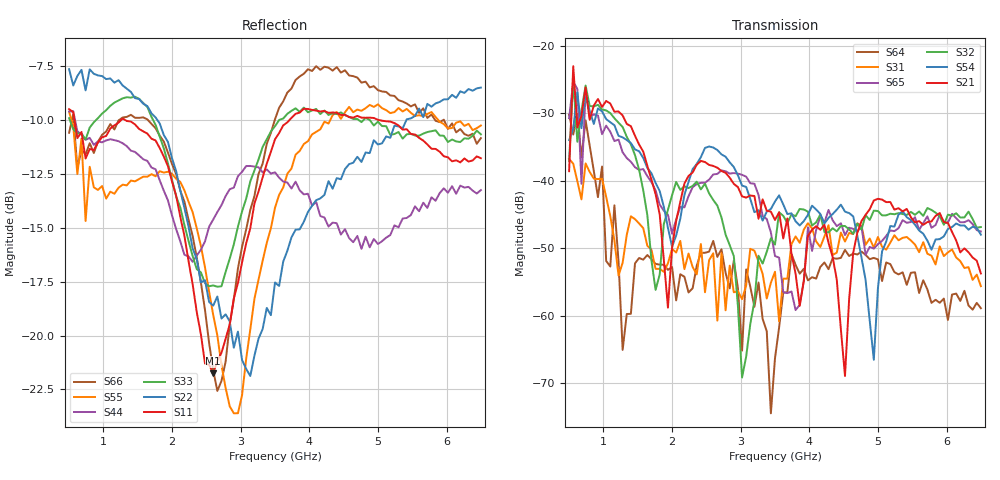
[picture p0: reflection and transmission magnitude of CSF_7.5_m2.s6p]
!Keysight Technologies,M9804A,MY58100912,A.14.10.03
!Date: Thursday, April 27, 2023 10:28:33
!Correction: S11(C  6-Port  )
!S12(C  6-Port  )
!S13(C  6-Port  )
!S14(C  6-Port  )
!S15(C  6-Port  )
!S16(C  6-Port  )
!S21(C  6-Port  )
!S22(C  6-Port  )
!S23(C  6-Port  )
!S24(C  6-Port  )
!S25(C  6-Port  )
!S26(C  6-Port  )
!S31(C  6-Port  )
!S32(C  6-Port  )
!S33(C  6-Port  )
!S34(C  6-Port  )
!S35(C  6-Port  )
!S36(C  6-Port  )
!S41(C  6-Port  )
!S42(C  6-Port  )
!S43(C  6-Port  )
!S44(C  6-Port  )
!S45(C  6-Port  )
!S46(C  6-Port  )
!S51(C  6-Port  )
!S52(C  6-Port  )
!S53(C  6-Port  )
!S54(C  6-Port  )
!S55(C  6-Port  )
!S56(C  6-Port  )
!S61(C  6-Port  )
!S62(C  6-Port  )
!S63(C  6-Port  )
!S64(C  6-Port  )
!S65(C  6-Port  )
!S66(C  6-Port  )
!S6P File: Measurement: :
# Hz S  RI  R 50
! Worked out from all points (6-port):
!   101 points, 500 MHz to 6.5 GHz, reference 50 ohm
!   strongest paths, dB at 500 MHz, 2 GHz, 3.5 GHz, 5 GHz, 6.5 GHz:
!     S21: -38.6, -49.9, -45.8, -42.7, -53.7
!     S54: -34.0, -49.8, -43.1, -55.9, -48.0
!     S32: -37.1, -42.1, -49.5, -44.5, -46.9
!     S65: -30.7, -47.8, -51.2, -49.4, -47.5
!     S31: -36.8, -50.1, -53.5, -48.3, -55.6
!     S64: -30.2, -52.8, -66.3, -51.7, -58.9
!   lowest |S11| = -21.8 dB at 2.6 GHz (marker M1), VSWR 1.18, Z = 42.7 + j2.09 ohm
!   |S11| at or under -10 dB: 578.1 MHz to 1.26 GHz (681.4 MHz wide, 74.2 % of centre); 1.314 GHz to 3.712 GHz (2.398 GHz wide, 95.4 % of centre); 5.008 GHz to end of sweep
